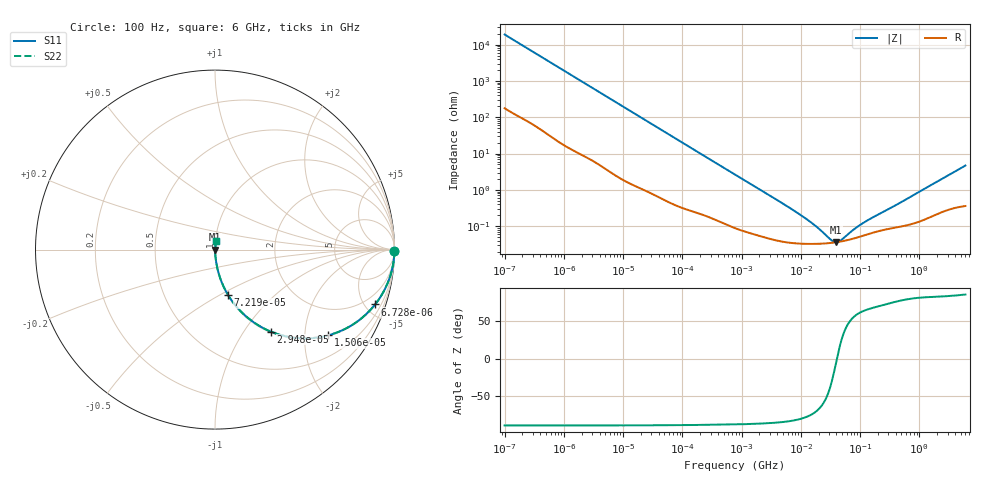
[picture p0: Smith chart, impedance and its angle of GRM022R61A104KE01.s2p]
!Murata Part Number: GRM022R61A104KE01
!These Parameters are Measured in Series Mode Connection
!Data Generated on Mar 30, 2021
!  o--ll--o
!Port1  Port2
!  o------o
!Operation Temp=25[degC], DC Bias Voltage=0[V]
!Freq. Start=100[Hz] Stop=6[GHz] 401[Steps]
# Hz S RI R 50
!Freq.(Hz) S11(Real) S11(Imag) S21(Real) S21(Imag) S12(Real) S12(Imag) S22(Real) S22(Imag)
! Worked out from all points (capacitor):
!   401 points, 100 Hz to 6 GHz, reference 50 ohm
!   read as one part in series: C = 83.1 nF near 109 Hz
!   lowest |Z| = 36.1 mohm at 39.84 MHz (marker M1)
!   series resonance near 40.76 MHz, so ESL is about 180 pH
!   S11 on the Smith chart (normalised r, x): 100 Hz: open; 6.728 kHz: 1.06, -5.83; 15.06 kHz: 1.03, -2.61; 29.48 kHz: 1.02, -1.34; 72.19 kHz: 1.01, -0.55; 6 GHz: 1.01, +0.09
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100  0.9999 -0.00523  7.6e-05 0.00523  7.6e-05 0.00523  0.9999 -0.00523
627  0.9987 -0.0324  0.00135 0.0324  0.00135 0.0324  0.9987 -0.0324
2008  0.9885 -0.102  0.0115 0.102  0.0115 0.102  0.9885 -0.102
4111  0.9558 -0.2007  0.0442 0.2007  0.0442 0.2007  0.9558 -0.2007
6728  0.8923 -0.3053  0.1077 0.3053  0.1077 0.3053  0.8923 -0.3053
10066  0.7896 -0.4029  0.2104 0.4029  0.2104 0.4029  0.7896 -0.4029
15062  0.6292 -0.478  0.3708 0.478  0.3708 0.478  0.6292 -0.478
20606  0.478 -0.494  0.522 0.494  0.522 0.494  0.478 -0.494
29482  0.3121 -0.4574  0.6879 0.4574  0.6879 0.4574  0.3121 -0.4574
40335  0.1973 -0.3917  0.8027 0.3917  0.8027 0.3917  0.1973 -0.3917
72189  0.0737 -0.2542  0.9263 0.2542  0.9263 0.2542  0.0737 -0.2542
202169  0.0118 -0.0979  0.9882 0.0979  0.9882 0.0979  0.0118 -0.0979
774597  0.00157 -0.0264  0.9984 0.0264  0.9984 0.0264  0.00157 -0.0264
6075234  0.000365 -0.00339  0.9996 0.00339  0.9996 0.00339  0.000365 -0.00339
1.555665e7  0.000325 -0.00116  0.9997 0.00116  0.9997 0.00116  0.000325 -0.00116
3.184506e7  0.000344 -0.000253  0.9997 0.000253  0.9997 0.000253  0.000344 -0.000253
3.983537e7  0.00036 -2.28e-05  0.9996 2.28e-05  0.9996 2.28e-05  0.00036 -2.28e-05
4.764863e7  0.000378 0.000157  0.9996 -0.000157  0.9996 -0.000157  0.000378 0.000157
7.797396e7  0.000456 0.000663  0.9995 -0.000663  0.9995 -0.000663  0.000456 0.000663
1.115611e8  0.000543 0.00108  0.9995 -0.00108  0.9995 -0.00108  0.000543 0.00108
3.124326e8  0.000856 0.00291  0.9991 -0.00291  0.9991 -0.00291  0.000856 0.00291
6e9  0.00572 0.0462  0.9943 -0.0462  0.9943 -0.0462  0.00572 0.0462
